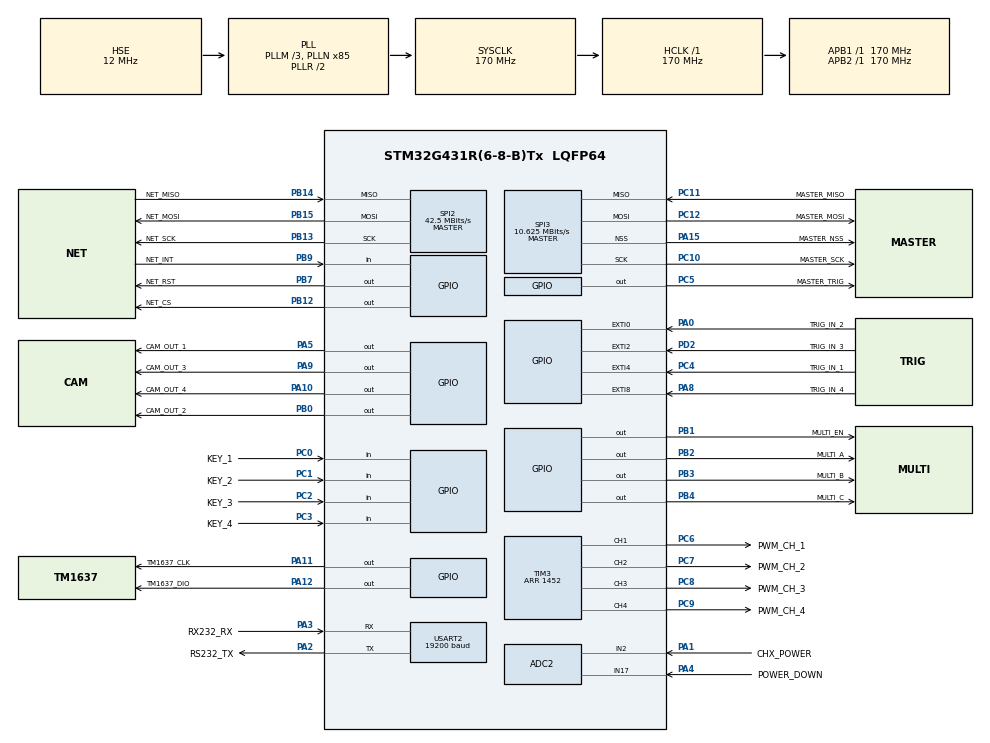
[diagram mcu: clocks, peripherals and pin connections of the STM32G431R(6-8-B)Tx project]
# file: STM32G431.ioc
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ADC2.Channel-0\#ChannelRegularConversion=ADC_CHANNEL_2
ADC2.Channel-1\#ChannelRegularConversion=ADC_CHANNEL_17
ADC2.ClockPrescaler=ADC_CLOCK_ASYNC_DIV4
ADC2.ContinuousConvMode=ENABLE
ADC2.DMAContinuousRequests=ENABLE
ADC2.NbrOfConversion=2
ADC2.NbrOfConversionFlag=1
ADC2.OffsetNumber-0\#ChannelRegularConversion=ADC_OFFSET_NONE
ADC2.OffsetNumber-1\#ChannelRegularConversion=ADC_OFFSET_NONE
ADC2.Rank-0\#ChannelRegularConversion=1
ADC2.Rank-1\#ChannelRegularConversion=2
ADC2.SamplingTime-0\#ChannelRegularConversion=ADC_SAMPLETIME_247CYCLES_5
ADC2.SamplingTime-1\#ChannelRegularConversion=ADC_SAMPLETIME_247CYCLES_5
Dma.ADC2.0.Direction=DMA_PERIPH_TO_MEMORY
Dma.ADC2.0.EventEnable=DISABLE
Dma.ADC2.0.Instance=DMA1_Channel1
Dma.ADC2.0.MemDataAlignment=DMA_MDATAALIGN_HALFWORD
Dma.ADC2.0.MemInc=DMA_MINC_ENABLE
Dma.ADC2.0.Mode=DMA_CIRCULAR
Dma.ADC2.0.PeriphDataAlignment=DMA_PDATAALIGN_HALFWORD
Dma.ADC2.0.PeriphInc=DMA_PINC_DISABLE
Dma.ADC2.0.Polarity=HAL_DMAMUX_REQ_GEN_RISING
Dma.ADC2.0.Priority=DMA_PRIORITY_MEDIUM
Dma.ADC2.0.RequestNumber=1
Dma.ADC2.0.SignalID=NONE
Dma.ADC2.0.SyncEnable=DISABLE
Dma.ADC2.0.SyncPolarity=HAL_DMAMUX_SYNC_NO_EVENT
Dma.ADC2.0.SyncRequestNumber=1
Dma.ADC2.0.SyncSignalID=NONE
Dma.Request0=ADC2
Dma.Request1=USART2_RX
Dma.Request2=USART2_TX
Dma.Request3=SPI3_RX
Dma.Request4=SPI3_TX
Dma.SPI3_RX.3.Direction=DMA_PERIPH_TO_MEMORY
Dma.SPI3_RX.3.EventEnable=DISABLE
Dma.SPI3_RX.3.Instance=DMA1_Channel4
Dma.SPI3_RX.3.MemDataAlignment=DMA_MDATAALIGN_BYTE
Dma.SPI3_RX.3.MemInc=DMA_MINC_ENABLE
Dma.SPI3_RX.3.Mode=DMA_NORMAL
Dma.SPI3_RX.3.PeriphDataAlignment=DMA_PDATAALIGN_BYTE
Dma.SPI3_RX.3.PeriphInc=DMA_PINC_DISABLE
Dma.SPI3_RX.3.Polarity=HAL_DMAMUX_REQ_GEN_RISING
Dma.SPI3_RX.3.Priority=DMA_PRIORITY_HIGH
Dma.SPI3_RX.3.RequestNumber=1
Dma.SPI3_RX.3.SignalID=NONE
Dma.SPI3_RX.3.SyncEnable=DISABLE
Dma.SPI3_RX.3.SyncPolarity=HAL_DMAMUX_SYNC_NO_EVENT
Dma.SPI3_RX.3.SyncRequestNumber=1
Dma.SPI3_RX.3.SyncSignalID=NONE
Dma.SPI3_TX.4.Direction=DMA_MEMORY_TO_PERIPH
Dma.SPI3_TX.4.EventEnable=DISABLE
Dma.SPI3_TX.4.Instance=DMA1_Channel5
Dma.SPI3_TX.4.MemDataAlignment=DMA_MDATAALIGN_BYTE
Dma.SPI3_TX.4.MemInc=DMA_MINC_ENABLE
Dma.SPI3_TX.4.Mode=DMA_NORMAL
Dma.SPI3_TX.4.PeriphDataAlignment=DMA_PDATAALIGN_BYTE
Dma.SPI3_TX.4.PeriphInc=DMA_PINC_DISABLE
Dma.SPI3_TX.4.Polarity=HAL_DMAMUX_REQ_GEN_RISING
Dma.SPI3_TX.4.Priority=DMA_PRIORITY_HIGH
Dma.SPI3_TX.4.RequestNumber=1
Dma.SPI3_TX.4.SignalID=NONE
Dma.SPI3_TX.4.SyncEnable=DISABLE
Dma.SPI3_TX.4.SyncPolarity=HAL_DMAMUX_SYNC_NO_EVENT
Dma.SPI3_TX.4.SyncRequestNumber=1
Dma.SPI3_TX.4.SyncSignalID=NONE
Dma.USART2_RX.1.Direction=DMA_PERIPH_TO_MEMORY
Dma.USART2_RX.1.EventEnable=DISABLE
Dma.USART2_RX.1.Instance=DMA1_Channel2
Dma.USART2_RX.1.MemDataAlignment=DMA_MDATAALIGN_BYTE
Dma.USART2_RX.1.MemInc=DMA_MINC_ENABLE
Dma.USART2_RX.1.Mode=DMA_NORMAL
Dma.USART2_RX.1.PeriphDataAlignment=DMA_PDATAALIGN_BYTE
Dma.USART2_RX.1.PeriphInc=DMA_PINC_DISABLE
Dma.USART2_RX.1.Polarity=HAL_DMAMUX_REQ_GEN_RISING
Dma.USART2_RX.1.Priority=DMA_PRIORITY_HIGH
Dma.USART2_RX.1.RequestNumber=1
Dma.USART2_RX.1.SignalID=NONE
Dma.USART2_RX.1.SyncEnable=DISABLE
Dma.USART2_RX.1.SyncPolarity=HAL_DMAMUX_SYNC_NO_EVENT
Dma.USART2_RX.1.SyncRequestNumber=1
Dma.USART2_RX.1.SyncSignalID=NONE
Dma.USART2_TX.2.Direction=DMA_MEMORY_TO_PERIPH
Dma.USART2_TX.2.EventEnable=DISABLE
Dma.USART2_TX.2.Instance=DMA1_Channel3
Dma.USART2_TX.2.MemDataAlignment=DMA_MDATAALIGN_BYTE
Dma.USART2_TX.2.MemInc=DMA_MINC_ENABLE
Dma.USART2_TX.2.Mode=DMA_NORMAL
Dma.USART2_TX.2.PeriphDataAlignment=DMA_PDATAALIGN_BYTE
Dma.USART2_TX.2.PeriphInc=DMA_PINC_DISABLE
Dma.USART2_TX.2.Polarity=HAL_DMAMUX_REQ_GEN_RISING
Dma.USART2_TX.2.Priority=DMA_PRIORITY_HIGH
Dma.USART2_TX.2.RequestNumber=1
Dma.USART2_TX.2.SignalID=NONE
Dma.USART2_TX.2.SyncEnable=DISABLE
Dma.USART2_TX.2.SyncPolarity=HAL_DMAMUX_SYNC_NO_EVENT
Dma.USART2_TX.2.SyncRequestNumber=1
Dma.USART2_TX.2.SyncSignalID=NONE
IWDG.Prescaler=IWDG_PRESCALER_8
Mcu.Family=STM32G4
Mcu.Name=STM32G431R(6-8-B)Tx
Mcu.Package=LQFP64
NVIC.DMA1_Channel1_IRQn=true\:3\:3\:true\:false\:true\:false\:true\:true
NVIC.DMA1_Channel2_IRQn=true\:1\:1\:true\:false\:true\:false\:true\:true
NVIC.DMA1_Channel3_IRQn=true\:1\:1\:true\:false\:true\:false\:true\:true
NVIC.DMA1_Channel4_IRQn=true\:1\:0\:true\:false\:true\:false\:true\:true
NVIC.DMA1_Channel5_IRQn=true\:1\:0\:true\:false\:true\:false\:true\:true
NVIC.EXTI0_IRQn=true\:0\:0\:false\:false\:true\:true\:true\:true
NVIC.EXTI2_IRQn=true\:0\:0\:false\:false\:true\:true\:true\:true
NVIC.EXTI4_IRQn=true\:0\:0\:false\:false\:true\:true\:true\:true
NVIC.EXTI9_5_IRQn=true\:0\:0\:false\:false\:true\:true\:true\:true
NVIC.PVD_PVM_IRQn=true\:1\:2\:true\:false\:true\:true\:true\:true
NVIC.PriorityGroup=NVIC_PRIORITYGROUP_2
NVIC.SPI3_IRQn=true\:1\:0\:true\:false\:true\:true\:true\:true
NVIC.TIM6_DAC_IRQn=true\:3\:2\:true\:false\:true\:true\:true\:true
NVIC.TIM7_IRQn=true\:3\:1\:true\:false\:true\:true\:true\:true
NVIC.USART2_IRQn=true\:1\:0\:true\:false\:true\:false\:true\:true
PA0.GPIO_Label=TRIG_IN_2
PA0.GPIO_ModeDefaultEXTI=GPIO_MODE_IT_FALLING
PA0.Signal=GPXTI0
PA1.GPIO_Label=CHX_POWER
PA1.Mode=IN2-Single-Ended
PA1.Signal=ADC2_IN2
PA10.GPIO_Label=CAM_OUT_4
PA10.GPIO_Speed=GPIO_SPEED_FREQ_VERY_HIGH
PA10.PinState=GPIO_PIN_SET
PA10.Signal=GPIO_Output
PA11.GPIO_Label=TM1637_CLK
PA11.GPIO_Speed=GPIO_SPEED_FREQ_MEDIUM
PA11.Signal=GPIO_Output
PA12.GPIO_Label=TM1637_DIO
PA12.GPIO_Speed=GPIO_SPEED_FREQ_MEDIUM
PA12.Signal=GPIO_Output
PA13.Mode=Serial_Wire
PA13.Signal=SYS_JTMS-SWDIO
PA14.Mode=Serial_Wire
PA14.Signal=SYS_JTCK-SWCLK
PA15.GPIO_Label=MASTER_NSS
PA15.GPIO_Speed=GPIO_SPEED_FREQ_VERY_HIGH
PA15.Mode=NSS_Signal_Hard_Output
PA15.Signal=SPI3_NSS
PA2.GPIO_Label=RS232_TX
PA2.Mode=Asynchronous
PA2.Signal=USART2_TX
PA3.GPIO_Label=RX232_RX
PA3.Mode=Asynchronous
PA3.Signal=USART2_RX
PA4.GPIO_Label=POWER_DOWN
PA4.Mode=IN17-Single-Ended
PA4.Signal=ADC2_IN17
PA5.GPIO_Label=CAM_OUT_1
PA5.GPIO_Speed=GPIO_SPEED_FREQ_VERY_HIGH
PA5.PinState=GPIO_PIN_SET
PA5.Signal=GPIO_Output
PA8.GPIO_Label=TRIG_IN_4
PA8.GPIO_ModeDefaultEXTI=GPIO_MODE_IT_FALLING
PA8.Signal=GPXTI8
PA9.GPIO_Label=CAM_OUT_3
PA9.GPIO_Speed=GPIO_SPEED_FREQ_VERY_HIGH
PA9.PinState=GPIO_PIN_SET
PA9.Signal=GPIO_Output
PB0.GPIO_Label=CAM_OUT_2
PB0.GPIO_Speed=GPIO_SPEED_FREQ_VERY_HIGH
PB0.PinState=GPIO_PIN_SET
PB0.Signal=GPIO_Output
PB1.GPIO_Label=MULTI_EN
PB1.GPIO_Speed=GPIO_SPEED_FREQ_VERY_HIGH
PB1.Signal=GPIO_Output
PB12.GPIO_Label=NET_CS
PB12.GPIO_Speed=GPIO_SPEED_FREQ_VERY_HIGH
PB12.Signal=GPIO_Output
PB13.GPIO_Label=NET_SCK
PB13.GPIO_Speed=GPIO_SPEED_FREQ_VERY_HIGH
PB13.Mode=Full_Duplex_Master
PB13.Signal=SPI2_SCK
PB14.GPIO_Label=NET_MISO
PB14.GPIO_Speed=GPIO_SPEED_FREQ_VERY_HIGH
PB14.Mode=Full_Duplex_Master
PB14.Signal=SPI2_MISO
PB15.GPIO_Label=NET_MOSI
PB15.GPIO_Speed=GPIO_SPEED_FREQ_VERY_HIGH
PB15.Mode=Full_Duplex_Master
PB15.Signal=SPI2_MOSI
PB2.GPIO_Label=MULTI_A
PB2.GPIO_Speed=GPIO_SPEED_FREQ_VERY_HIGH
PB2.Signal=GPIO_Output
PB3.GPIO_Label=MULTI_B
PB3.GPIO_Speed=GPIO_SPEED_FREQ_VERY_HIGH
PB3.Signal=GPIO_Output
PB4.GPIO_Label=MULTI_C
PB4.GPIO_Speed=GPIO_SPEED_FREQ_VERY_HIGH
PB4.Signal=GPIO_Output
PB7.GPIO_Label=NET_RST
PB7.GPIO_PuPd=GPIO_NOPULL
PB7.GPIO_Speed=GPIO_SPEED_FREQ_VERY_HIGH
PB7.Signal=GPIO_Output
PB9.GPIO_Label=NET_INT
PB9.Signal=GPIO_Input
PC0.GPIO_Label=KEY_1
PC0.Signal=GPIO_Input
PC1.GPIO_Label=KEY_2
PC1.Signal=GPIO_Input
PC10.GPIO_Label=MASTER_SCK
PC10.GPIO_Speed=GPIO_SPEED_FREQ_VERY_HIGH
PC10.Mode=Full_Duplex_Master
PC10.Signal=SPI3_SCK
PC11.GPIO_Label=MASTER_MISO
PC11.GPIO_Speed=GPIO_SPEED_FREQ_VERY_HIGH
PC11.Mode=Full_Duplex_Master
PC11.Signal=SPI3_MISO
PC12.GPIO_Label=MASTER_MOSI
PC12.GPIO_Speed=GPIO_SPEED_FREQ_VERY_HIGH
PC12.Mode=Full_Duplex_Master
PC12.Signal=SPI3_MOSI
PC2.GPIO_Label=KEY_3
PC2.Signal=GPIO_Input
PC3.GPIO_Label=KEY_4
PC3.Signal=GPIO_Input
PC4.GPIO_Label=TRIG_IN_1
PC4.GPIO_ModeDefaultEXTI=GPIO_MODE_IT_FALLING
PC4.Signal=GPXTI4
PC5.GPIO_Label=MASTER_TRIG 
PC5.GPIO_Speed=GPIO_SPEED_FREQ_VERY_HIGH
PC5.Signal=GPIO_Output
PC6.GPIO_Label=PWM_CH_1
PC6.GPIO_Speed=GPIO_SPEED_FREQ_VERY_HIGH
PC6.Signal=S_TIM3_CH1
PC7.GPIO_Label=PWM_CH_2
PC7.GPIO_Speed=GPIO_SPEED_FREQ_VERY_HIGH
PC7.Signal=S_TIM3_CH2
PC8.GPIO_Label=PWM_CH_3
PC8.GPIO_Speed=GPIO_SPEED_FREQ_VERY_HIGH
PC8.Signal=S_TIM3_CH3
PC9.GPIO_Label=PWM_CH_4
PC9.GPIO_Speed=GPIO_SPEED_FREQ_VERY_HIGH
PC9.Signal=S_TIM3_CH4
PD2.GPIO_Label=TRIG_IN_3
PD2.GPIO_ModeDefaultEXTI=GPIO_MODE_IT_FALLING
PD2.Signal=GPXTI2
PF0-OSC_IN.Mode=HSE-External-Oscillator
PF0-OSC_IN.Signal=RCC_OSC_IN
PF1-OSC_OUT.Mode=HSE-External-Oscillator
PF1-OSC_OUT.Signal=RCC_OSC_OUT
ProjectManager.HeapSize=0x200
ProjectManager.StackSize=0x400
ProjectManager.TargetToolchain=MDK-ARM V5.32
RCC.ADC12Freq_Value=170000000
RCC.AHBFreq_Value=170000000
RCC.APB1Freq_Value=170000000
RCC.APB1TimFreq_Value=170000000
RCC.APB2Freq_Value=170000000
RCC.APB2TimFreq_Value=170000000
RCC.CortexFreq_Value=170000000
RCC.EXTERNAL_CLOCK_VALUE=12288000
RCC.HCLKFreq_Value=170000000
RCC.HSE_VALUE=12000000
RCC.HSI48_VALUE=48000000
RCC.HSI_VALUE=16000000
RCC.LSE_VALUE=32768
RCC.PLLM=RCC_PLLM_DIV3
RCC.PLLN=85
RCC.PLLSourceVirtual=RCC_PLLSOURCE_HSE
RCC.SYSCLKFreq_VALUE=170000000
RCC.SYSCLKSource=RCC_SYSCLKSOURCE_PLLCLK
RCC.USBFreq_Value=170000000
RCC.VCOOutputFreq_Value=340000000
SH.S_TIM3_CH1.0=TIM3_CH1,PWM Generation1 CH1
SH.S_TIM3_CH2.0=TIM3_CH2,PWM Generation2 CH2
SH.S_TIM3_CH3.0=TIM3_CH3,PWM Generation3 CH3
SH.S_TIM3_CH4.0=TIM3_CH4,PWM Generation4 CH4
SPI2.BaudRatePrescaler=SPI_BAUDRATEPRESCALER_4
SPI2.CalculateBaudRate=42.5 MBits/s
SPI2.DataSize=SPI_DATASIZE_8BIT
SPI2.Direction=SPI_DIRECTION_2LINES
SPI2.Mode=SPI_MODE_MASTER
SPI2.NSSPMode=SPI_NSS_PULSE_DISABLE
SPI2.VirtualType=VM_MASTER
SPI3.BaudRatePrescaler=SPI_BAUDRATEPRESCALER_16
SPI3.CalculateBaudRate=10.625 MBits/s
SPI3.DataSize=SPI_DATASIZE_8BIT
SPI3.Direction=SPI_DIRECTION_2LINES
SPI3.Mode=SPI_MODE_MASTER
SPI3.NSSPMode=SPI_NSS_PULSE_DISABLE
SPI3.VirtualNSS=VM_NSSHARD
SPI3.VirtualType=VM_MASTER
TIM3.AutoReloadPreload=TIM_AUTORELOAD_PRELOAD_ENABLE
TIM3.Channel-PWM\ Generation1\ CH1=TIM_CHANNEL_1
TIM3.Channel-PWM\ Generation2\ CH2=TIM_CHANNEL_2
TIM3.Channel-PWM\ Generation3\ CH3=TIM_CHANNEL_3
TIM3.Channel-PWM\ Generation4\ CH4=TIM_CHANNEL_4
TIM3.PeriodNoDither=1452
TIM6.AutoReloadPreload=TIM_AUTORELOAD_PRELOAD_ENABLE
TIM6.PeriodNoDither=10000-1
TIM6.Prescaler=17000-1
TIM7.AutoReloadPreload=TIM_AUTORELOAD_PRELOAD_ENABLE
TIM7.PeriodNoDither=10
TIM7.Prescaler=17000-1
USART2.BaudRate=19200
USART2.DMADisableonRxErrorParam=ADVFEATURE_DMA_DISABLEONRXERROR
USART2.OverrunDisableParam=ADVFEATURE_OVERRUN_DISABLE
USART2.VirtualMode-Asynchronous=VM_ASYNC
VP_IWDG_VS_IWDG.Mode=IWDG_Activate
VP_SYS_VS_DBSignals.Mode=DisableDeadBatterySignals
VP_TIM3_VS_ClockSourceINT.Mode=Internal
VP_TIM6_VS_ClockSourceINT.Mode=Enable_Timer
VP_TIM7_VS_ClockSourceINT.Mode=Enable_Timer
board=custom

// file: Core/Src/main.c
/* USER CODE BEGIN Header */
/**
  ******************************************************************************
  * @file           : main.c
  * @brief          : Main program body
  ******************************************************************************
  * @attention
  *
  * Copyright (c) 2025 STMicroelectronics.
  * All rights reserved.
  *
  * This software is licensed under terms that can be found in the LICENSE file
  * in the root directory of this software component.
  * If no LICENSE file comes with this software, it is provided AS-IS.
  *
  ******************************************************************************
  */
/* USER CODE END Header */
#include "main.h"
#include "adc.h"
#include "dma.h"
#include "iwdg.h"
#include "spi.h"
#include "tim.h"
#include "usart.h"
#include "gpio.h"

/* USER CODE BEGIN Includes */
#include "stm32_tm1637.h"
#include "bsp_tim_pwm.h"
#include "bsp_w5500.h"
#include "SEGGER_RTT.h"
/* USER CODE END Includes */

/* USER CODE BEGIN PTD */
#if defined(__ICCARM__)
/* New definition from EWARM V9, compatible with EWARM8 */
int iar_fputc(int ch);
#define PUTCHAR_PROTOTYPE int iar_fputc(int ch)
#elif defined ( __CC_ARM ) || defined(__ARMCC_VERSION)
/* ARM Compiler 5/6*/
#define PUTCHAR_PROTOTYPE int fputc(int ch, FILE *f)
#elif defined(__GNUC__)
#define PUTCHAR_PROTOTYPE int __io_putchar(int ch)
#endif /* __ICCARM__ */
/* USER CODE END PTD */

void SystemClock_Config(void);

/* USER CODE BEGIN 0 */
uint32_t s_uiDelayCount = 0;
/* USER CODE END 0 */

int main(void)
{

  /* USER CODE BEGIN 1 */
	NVIC_SetVectorTable(NVIC_VectTab_FLASH,APPLICATION_POSADDR_A);
  /* USER CODE END 1 */

  /* MCU Configuration--------------------------------------------------------*/

  /* Reset of all peripherals, Initializes the Flash interface and the Systick. */
  HAL_Init();

  /* Configure the system clock */
  SystemClock_Config();

  /* Initialize all configured peripherals */
  MX_GPIO_Init();
  MX_DMA_Init();
  MX_ADC2_Init();
  MX_USART2_UART_Init();
  MX_SPI2_Init();
  MX_SPI3_Init();
  MX_TIM3_Init();
  MX_TIM6_Init();
  MX_TIM7_Init();
  MX_IWDG_Init();
  /* USER CODE BEGIN 2 */
	LOG_CLEAR();
	bsp_Init();
  /* USER CODE END 2 */

  /* Infinite loop */
  /* USER CODE BEGIN WHILE */
  while (1)
  {
	  app_task();
    /* USER CODE END WHILE */

  }
}

void SystemClock_Config(void)
{
  RCC_OscInitTypeDef RCC_OscInitStruct = {0};
  RCC_ClkInitTypeDef RCC_ClkInitStruct = {0};

  /** Configure the main internal regulator output voltage
  */
  HAL_PWREx_ControlVoltageScaling(PWR_REGULATOR_VOLTAGE_SCALE1_BOOST);

  /** Initializes the RCC Oscillators according to the specified parameters
  * in the RCC_OscInitTypeDef structure.
  */
  RCC_OscInitStruct.OscillatorType = RCC_OSCILLATORTYPE_LSI|RCC_OSCILLATORTYPE_HSE;
  RCC_OscInitStruct.HSEState = RCC_HSE_ON;
  RCC_OscInitStruct.LSIState = RCC_LSI_ON;
  RCC_OscInitStruct.PLL.PLLState = RCC_PLL_ON;
  RCC_OscInitStruct.PLL.PLLSource = RCC_PLLSOURCE_HSE;
  RCC_OscInitStruct.PLL.PLLM = RCC_PLLM_DIV3;
  RCC_OscInitStruct.PLL.PLLN = 85;
  RCC_OscInitStruct.PLL.PLLP = RCC_PLLP_DIV2;
  RCC_OscInitStruct.PLL.PLLQ = RCC_PLLQ_DIV2;
  RCC_OscInitStruct.PLL.PLLR = RCC_PLLR_DIV2;
  if (HAL_RCC_OscConfig(&RCC_OscInitStruct) != HAL_OK)
  {
    Error_Handler();
  }

  /** Initializes the CPU, AHB and APB buses clocks
  */
  RCC_ClkInitStruct.ClockType = RCC_CLOCKTYPE_HCLK|RCC_CLOCKTYPE_SYSCLK
                              |RCC_CLOCKTYPE_PCLK1|RCC_CLOCKTYPE_PCLK2;
  RCC_ClkInitStruct.SYSCLKSource = RCC_SYSCLKSOURCE_PLLCLK;
  RCC_ClkInitStruct.AHBCLKDivider = RCC_SYSCLK_DIV1;
  RCC_ClkInitStruct.APB1CLKDivider = RCC_HCLK_DIV1;
  RCC_ClkInitStruct.APB2CLKDivider = RCC_HCLK_DIV1;

  if (HAL_RCC_ClockConfig(&RCC_ClkInitStruct, FLASH_LATENCY_4) != HAL_OK)
  {
    Error_Handler();
  }
}

/* USER CODE BEGIN 4 */
#if defined(__ICCARM__)
size_t __write(int file, unsigned char const *ptr, size_t len)
{
  size_t idx;
  unsigned char const *pdata = ptr;

  for (idx = 0; idx < len; idx++)
  {
    iar_fputc((int)*pdata);
    pdata++;
  }
  return len;
}
#endif /* __ICCARM__ */

PUTCHAR_PROTOTYPE
{
  /* Place your implementation of fputc here */
  /* e.g. write a character to the LPUART1 and Loop until the end of transmission */
  HAL_UART_Transmit(&huart2, (uint8_t *)&ch, 1, 0xFFFF);

  return ch;
}
/* USER CODE END 4 */

void Error_Handler(void)
{
  __disable_irq();
  while (1)
  {
  }
}
